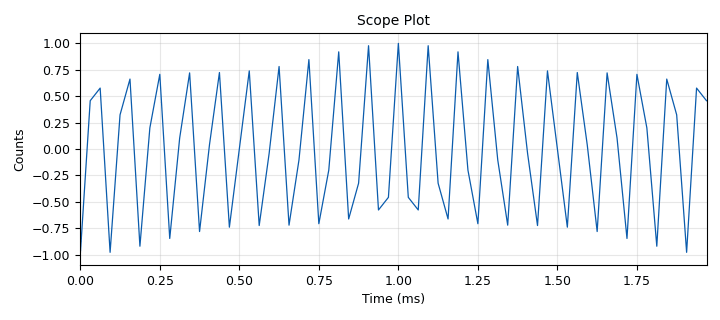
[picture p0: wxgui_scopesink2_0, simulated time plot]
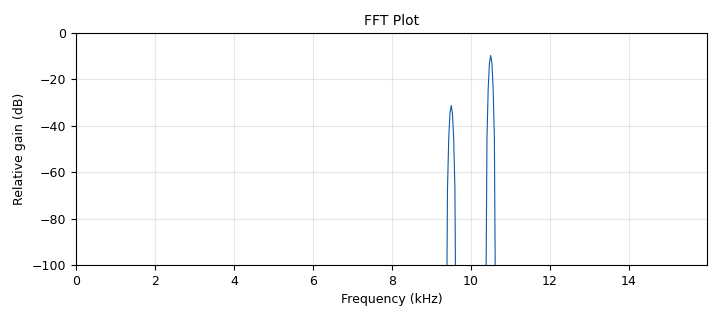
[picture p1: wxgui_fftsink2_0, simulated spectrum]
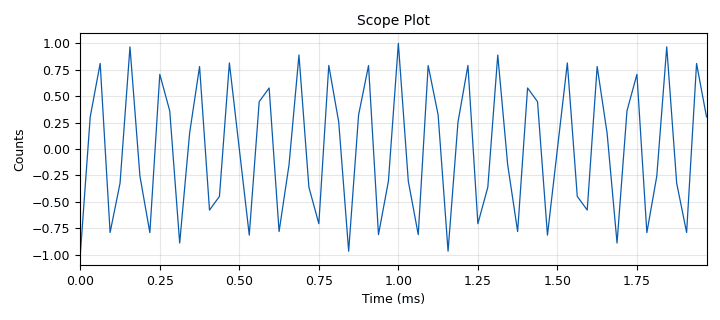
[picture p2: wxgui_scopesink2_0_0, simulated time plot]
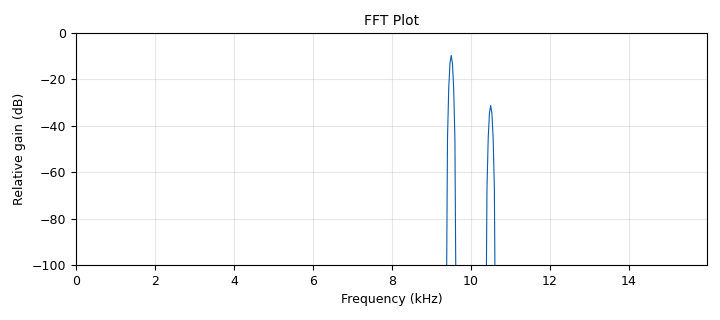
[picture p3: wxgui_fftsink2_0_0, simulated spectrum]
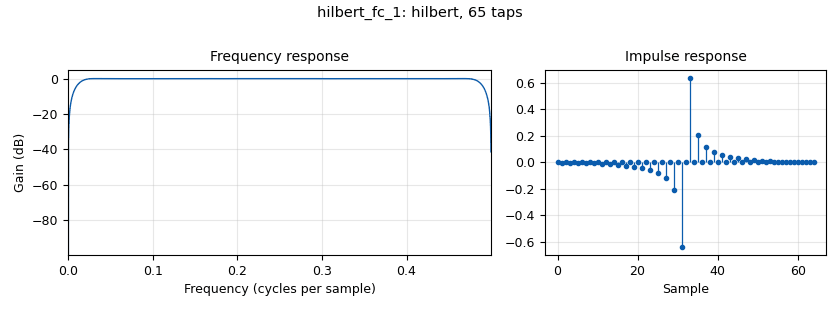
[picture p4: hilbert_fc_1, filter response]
<?xml version='1.0' encoding='utf-8'?>
<flow_graph>
<block>
<key>options</key>
<param><key>id</key><value>top_block</value></param>
<param><key>generate_options</key><value>wx_gui</value></param>
<param><key>category</key><value>Custom</value></param>
</block>
<block>
<key>variable</key>
<param><key>id</key><value>samp_rate</value></param>
<param><key>value</key><value>32000</value></param>
</block>
<block>
<key>wxgui_scopesink2</key>
<param><key>id</key><value>wxgui_scopesink2_0</value></param>
<param><key>type</key><value>float</value></param>
<param><key>title</key><value>Scope Plot</value></param>
<param><key>samp_rate</key><value>samp_rate</value></param>
<param><key>v_scale</key><value>0</value></param>
<param><key>v_offset</key><value>0</value></param>
<param><key>t_scale</key><value>0</value></param>
<param><key>ac_couple</key><value>False</value></param>
<param><key>xy_mode</key><value>False</value></param>
<param><key>num_inputs</key><value>1</value></param>
<param><key>notebook</key><value>debu_notebook,0</value></param>
<param><key>trig_mode</key><value>wxgui.TRIG_MODE_AUTO</value></param>
<param><key>y_axis_label</key><value>Counts</value></param>
</block>
<block>
<key>notebook</key>
<param><key>id</key><value>debu_notebook</value></param>
<param><key>style</key><value>wx.NB_TOP</value></param>
<param><key>labels</key><value>['sub', 'sub_fourier','add', 'add_fourier']</value></param>
</block>
<block>
<key>blocks_sub_xx</key>
<param><key>id</key><value>blocks_sub_xx_0</value></param>
<param><key>type</key><value>float</value></param>
</block>
<block>
<key>wxgui_fftsink2</key>
<param><key>id</key><value>wxgui_fftsink2_0</value></param>
<param><key>type</key><value>float</value></param>
<param><key>title</key><value>FFT Plot</value></param>
<param><key>samp_rate</key><value>samp_rate</value></param>
<param><key>baseband_freq</key><value>0</value></param>
<param><key>y_per_div</key><value>10</value></param>
<param><key>y_divs</key><value>10</value></param>
<param><key>ref_level</key><value>0</value></param>
<param><key>ref_scale</key><value>2.0</value></param>
<param><key>fft_size</key><value>1024</value></param>
<param><key>fft_rate</key><value>15</value></param>
<param><key>peak_hold</key><value>False</value></param>
<param><key>average</key><value>False</value></param>
<param><key>avg_alpha</key><value>0</value></param>
<param><key>win</key><value>None</value></param>
<param><key>notebook</key><value>debu_notebook,1</value></param>
<param><key>freqvar</key><value>None</value></param>
</block>
<block>
<key>blocks_add_xx</key>
<param><key>id</key><value>blocks_add_xx_0</value></param>
<param><key>type</key><value>float</value></param>
</block>
<block>
<key>wxgui_scopesink2</key>
<param><key>id</key><value>wxgui_scopesink2_0_0</value></param>
<param><key>type</key><value>float</value></param>
<param><key>title</key><value>Scope Plot</value></param>
<param><key>samp_rate</key><value>samp_rate</value></param>
<param><key>v_scale</key><value>0</value></param>
<param><key>v_offset</key><value>0</value></param>
<param><key>t_scale</key><value>0</value></param>
<param><key>ac_couple</key><value>False</value></param>
<param><key>xy_mode</key><value>False</value></param>
<param><key>num_inputs</key><value>1</value></param>
<param><key>notebook</key><value>debu_notebook,2</value></param>
<param><key>trig_mode</key><value>wxgui.TRIG_MODE_AUTO</value></param>
<param><key>y_axis_label</key><value>Counts</value></param>
</block>
<block>
<key>wxgui_fftsink2</key>
<param><key>id</key><value>wxgui_fftsink2_0_0</value></param>
<param><key>type</key><value>float</value></param>
<param><key>title</key><value>FFT Plot</value></param>
<param><key>samp_rate</key><value>samp_rate</value></param>
<param><key>baseband_freq</key><value>0</value></param>
<param><key>y_per_div</key><value>10</value></param>
<param><key>y_divs</key><value>10</value></param>
<param><key>ref_level</key><value>0</value></param>
<param><key>ref_scale</key><value>2.0</value></param>
<param><key>fft_size</key><value>1024</value></param>
<param><key>fft_rate</key><value>15</value></param>
<param><key>peak_hold</key><value>False</value></param>
<param><key>average</key><value>False</value></param>
<param><key>avg_alpha</key><value>0</value></param>
<param><key>win</key><value>None</value></param>
<param><key>notebook</key><value>debu_notebook,3</value></param>
<param><key>freqvar</key><value>None</value></param>
</block>
<block>
<key>blocks_throttle</key>
<param><key>id</key><value>blocks_throttle_0_0</value></param>
<param><key>type</key><value>float</value></param>
<param><key>samples_per_second</key><value>samp_rate</value></param>
</block>
<block>
<key>blocks_throttle</key>
<param><key>id</key><value>blocks_throttle_0</value></param>
<param><key>type</key><value>float</value></param>
<param><key>samples_per_second</key><value>samp_rate</value></param>
</block>
<block>
<key>analog_sig_source_x</key>
<param><key>id</key><value>analog_sig_source_x_1_0</value></param>
<param><key>type</key><value>float</value></param>
<param><key>samp_rate</key><value>samp_rate</value></param>
<param><key>waveform</key><value>analog.GR_COS_WAVE</value></param>
<param><key>freq</key><value>10000</value></param>
<param><key>amp</key><value>1</value></param>
<param><key>offset</key><value>0</value></param>
</block>
<block>
<key>hilbert_fc</key>
<param><key>id</key><value>hilbert_fc_1</value></param>
<param><key>num_taps</key><value>65</value></param>
<param><key>win</key><value>firdes.WIN_HAMMING</value></param>
</block>
<block>
<key>blocks_complex_to_real</key>
<param><key>id</key><value>blocks_complex_to_real_0</value></param>
</block>
<block>
<key>blocks_multiply_xx</key>
<param><key>id</key><value>blocks_multiply_xx_0</value></param>
<param><key>type</key><value>float</value></param>
</block>
<block>
<key>blocks_complex_to_imag</key>
<param><key>id</key><value>blocks_complex_to_imag_0</value></param>
</block>
<block>
<key>blocks_multiply_xx</key>
<param><key>id</key><value>blocks_multiply_xx_0_0</value></param>
<param><key>type</key><value>float</value></param>
</block>
<block>
<key>analog_sig_source_x</key>
<param><key>id</key><value>analog_sig_source_x_0_0</value></param>
<param><key>type</key><value>float</value></param>
<param><key>samp_rate</key><value>samp_rate</value></param>
<param><key>waveform</key><value>analog.GR_COS_WAVE</value></param>
<param><key>freq</key><value>500</value></param>
<param><key>amp</key><value>1</value></param>
<param><key>offset</key><value>0</value></param>
</block>
<block>
<key>blocks_complex_to_imag</key>
<param><key>id</key><value>blocks_complex_to_imag_1</value></param>
</block>
<block>
<key>hilbert_fc</key>
<param><key>id</key><value>hilbert_fc_0</value></param>
<param><key>num_taps</key><value>65</value></param>
<param><key>win</key><value>firdes.WIN_HAMMING</value></param>
</block>
<block>
<key>blocks_complex_to_real</key>
<param><key>id</key><value>blocks_complex_to_real_1</value></param>
</block>
<connection><source_block_id>analog_sig_source_x_0_0</source_block_id><sink_block_id>hilbert_fc_0</sink_block_id><source_key>0</source_key><sink_key>0</sink_key></connection>
<connection><source_block_id>analog_sig_source_x_1_0</source_block_id><sink_block_id>hilbert_fc_1</sink_block_id><source_key>0</source_key><sink_key>0</sink_key></connection>
<connection><source_block_id>blocks_sub_xx_0</source_block_id><sink_block_id>blocks_throttle_0</sink_block_id><source_key>0</source_key><sink_key>0</sink_key></connection>
<connection><source_block_id>blocks_multiply_xx_0</source_block_id><sink_block_id>blocks_sub_xx_0</sink_block_id><source_key>0</source_key><sink_key>0</sink_key></connection>
<connection><source_block_id>blocks_multiply_xx_0_0</source_block_id><sink_block_id>blocks_sub_xx_0</sink_block_id><source_key>0</source_key><sink_key>1</sink_key></connection>
<connection><source_block_id>blocks_multiply_xx_0</source_block_id><sink_block_id>blocks_add_xx_0</sink_block_id><source_key>0</source_key><sink_key>0</sink_key></connection>
<connection><source_block_id>blocks_multiply_xx_0_0</source_block_id><sink_block_id>blocks_add_xx_0</sink_block_id><source_key>0</source_key><sink_key>1</sink_key></connection>
<connection><source_block_id>blocks_throttle_0</source_block_id><sink_block_id>wxgui_scopesink2_0</sink_block_id><source_key>0</source_key><sink_key>0</sink_key></connection>
<connection><source_block_id>blocks_throttle_0</source_block_id><sink_block_id>wxgui_fftsink2_0</sink_block_id><source_key>0</source_key><sink_key>0</sink_key></connection>
<connection><source_block_id>blocks_throttle_0_0</source_block_id><sink_block_id>wxgui_scopesink2_0_0</sink_block_id><source_key>0</source_key><sink_key>0</sink_key></connection>
<connection><source_block_id>blocks_throttle_0_0</source_block_id><sink_block_id>wxgui_fftsink2_0_0</sink_block_id><source_key>0</source_key><sink_key>0</sink_key></connection>
<connection><source_block_id>blocks_add_xx_0</source_block_id><sink_block_id>blocks_throttle_0_0</sink_block_id><source_key>0</source_key><sink_key>0</sink_key></connection>
<connection><source_block_id>hilbert_fc_0</source_block_id><sink_block_id>blocks_complex_to_imag_1</sink_block_id><source_key>0</source_key><sink_key>0</sink_key></connection>
<connection><source_block_id>hilbert_fc_0</source_block_id><sink_block_id>blocks_complex_to_real_1</sink_block_id><source_key>0</source_key><sink_key>0</sink_key></connection>
<connection><source_block_id>hilbert_fc_1</source_block_id><sink_block_id>blocks_complex_to_imag_0</sink_block_id><source_key>0</source_key><sink_key>0</sink_key></connection>
<connection><source_block_id>hilbert_fc_1</source_block_id><sink_block_id>blocks_complex_to_real_0</sink_block_id><source_key>0</source_key><sink_key>0</sink_key></connection>
<connection><source_block_id>blocks_complex_to_real_0</source_block_id><sink_block_id>blocks_multiply_xx_0</sink_block_id><source_key>0</source_key><sink_key>0</sink_key></connection>
<connection><source_block_id>blocks_complex_to_real_1</source_block_id><sink_block_id>blocks_multiply_xx_0</sink_block_id><source_key>0</source_key><sink_key>1</sink_key></connection>
<connection><source_block_id>blocks_complex_to_imag_1</source_block_id><sink_block_id>blocks_multiply_xx_0_0</sink_block_id><source_key>0</source_key><sink_key>0</sink_key></connection>
<connection><source_block_id>blocks_complex_to_imag_0</source_block_id><sink_block_id>blocks_multiply_xx_0_0</sink_block_id><source_key>0</source_key><sink_key>1</sink_key></connection>
</flow_graph>
